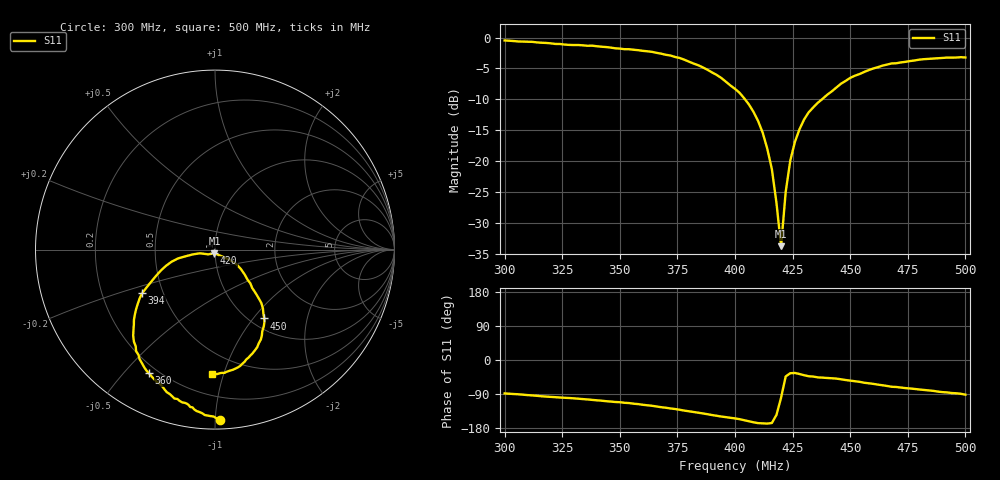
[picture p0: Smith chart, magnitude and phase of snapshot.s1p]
! Copper dipole approx 162mm each arm; short repaired feed, original calibrated cable unchanged
# Hz S RI R 50
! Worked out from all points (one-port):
!   101 points, 300 MHz to 500 MHz, reference 50 ohm
!   lowest |S11| = -33.7 dB at 420 MHz (marker M1), VSWR 1.04, Z = 49.6 - j2.01 ohm
!   |S11| at or under -10 dB: 404.4 MHz to 437.7 MHz (33.36 MHz wide, 7.92 % of centre)
!   S11 on the Smith chart (normalised r, x): 300 MHz: 0.06, -1.03; 360 MHz: 0.17, -0.59; 394 MHz: 0.38, -0.24; 420 MHz: 0.99, -0.04; 450 MHz: 1.16, -1.14; 500 MHz: 0.35, -0.91
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3e8  0.0303 -0.9474
3.26e8  -0.1471 -0.8655
3.38e8  -0.2265 -0.8297
3.5e8  -0.2974 -0.7586
3.6e8  -0.3687 -0.6885
3.76e8  -0.4516 -0.5136
3.86e8  -0.4465 -0.3618
3.94e8  -0.4054 -0.2418
4e8  -0.3462 -0.1678
4.06e8  -0.2737 -0.0909
4.1e8  -0.2061 -0.0492
4.12e8  -0.1662 -0.0379
4.14e8  -0.1235 -0.0267
4.16e8  -0.0838 -0.0205
4.18e8  -0.0376 -0.0265
4.2e8  -0.00342 -0.0203
4.22e8  0.041 -0.0387
4.24e8  0.0831 -0.0579
4.26e8  0.1184 -0.0804
4.28e8  0.1449 -0.1091
4.32e8  0.1822 -0.1694
4.4e8  0.2331 -0.2537
4.5e8  0.275 -0.3837
4.6e8  0.2555 -0.5008
4.68e8  0.2052 -0.5828
4.76e8  0.1652 -0.6245
4.9e8  0.0625 -0.6815
5e8  -0.0177 -0.6903
